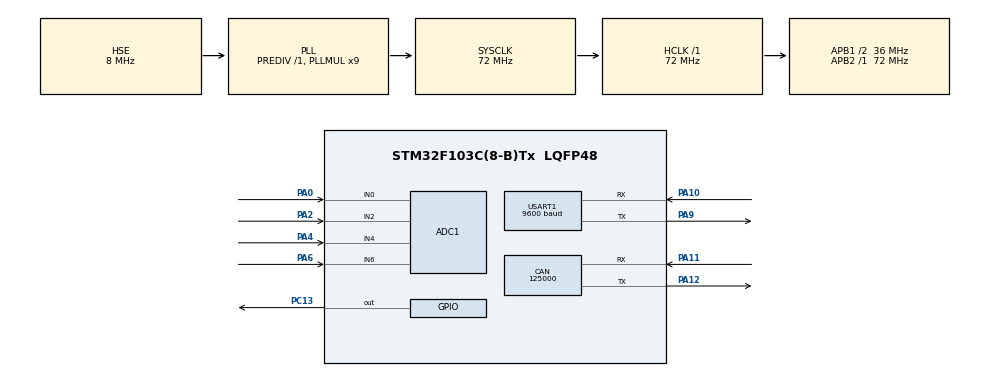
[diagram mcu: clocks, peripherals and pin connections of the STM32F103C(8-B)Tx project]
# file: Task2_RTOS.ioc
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ADC1.Channel-0\#ChannelRegularConversion=ADC_CHANNEL_0
ADC1.Channel-1\#ChannelRegularConversion=ADC_CHANNEL_2
ADC1.Channel-2\#ChannelRegularConversion=ADC_CHANNEL_4
ADC1.Channel-3\#ChannelRegularConversion=ADC_CHANNEL_6
ADC1.ContinuousConvMode=ENABLE
ADC1.NbrOfConversion=4
ADC1.NbrOfConversionFlag=1
ADC1.Rank-0\#ChannelRegularConversion=1
ADC1.Rank-1\#ChannelRegularConversion=2
ADC1.Rank-2\#ChannelRegularConversion=3
ADC1.Rank-3\#ChannelRegularConversion=4
ADC1.SamplingTime-0\#ChannelRegularConversion=ADC_SAMPLETIME_1CYCLE_5
ADC1.SamplingTime-1\#ChannelRegularConversion=ADC_SAMPLETIME_1CYCLE_5
ADC1.SamplingTime-2\#ChannelRegularConversion=ADC_SAMPLETIME_1CYCLE_5
ADC1.SamplingTime-3\#ChannelRegularConversion=ADC_SAMPLETIME_1CYCLE_5
ADC1.master=1
CAN.BS1=CAN_BS1_15TQ
CAN.BS2=CAN_BS2_2TQ
CAN.CalculateBaudRate=125000
CAN.CalculateTimeBit=8000
CAN.CalculateTimeQuantum=444.44444444444446
Dma.ADC1.0.Direction=DMA_PERIPH_TO_MEMORY
Dma.ADC1.0.Instance=DMA1_Channel1
Dma.ADC1.0.MemDataAlignment=DMA_MDATAALIGN_WORD
Dma.ADC1.0.MemInc=DMA_MINC_ENABLE
Dma.ADC1.0.Mode=DMA_NORMAL
Dma.ADC1.0.PeriphDataAlignment=DMA_PDATAALIGN_WORD
Dma.ADC1.0.PeriphInc=DMA_PINC_DISABLE
Dma.ADC1.0.Priority=DMA_PRIORITY_LOW
Dma.Request0=ADC1
Mcu.Family=STM32F1
Mcu.Name=STM32F103C(8-B)Tx
Mcu.Package=LQFP48
NVIC.DMA1_Channel1_IRQn=true\:0\:0\:false\:false\:true\:false\:true\:true
NVIC.PriorityGroup=NVIC_PRIORITYGROUP_4
NVIC.TIM1_UP_IRQn=true\:15\:0\:false\:false\:true\:false\:true\:true
NVIC.TimeBase=TIM1_UP_IRQn
NVIC.TimeBaseIP=TIM1
PA0-WKUP.Signal=ADCx_IN0
PA10.Mode=Asynchronous
PA10.Signal=USART1_RX
PA11.Mode=CAN_Activate
PA11.Signal=CAN_RX
PA12.Mode=CAN_Activate
PA12.Signal=CAN_TX
PA13.Mode=Serial_Wire
PA13.Signal=SYS_JTMS-SWDIO
PA14.Mode=Serial_Wire
PA14.Signal=SYS_JTCK-SWCLK
PA2.Signal=ADCx_IN2
PA4.Signal=ADCx_IN4
PA6.Signal=ADCx_IN6
PA9.Mode=Asynchronous
PA9.Signal=USART1_TX
PC13-TAMPER-RTC.Signal=GPIO_Output
PD0-OSC_IN.Mode=HSE-External-Oscillator
PD0-OSC_IN.Signal=RCC_OSC_IN
PD1-OSC_OUT.Mode=HSE-External-Oscillator
PD1-OSC_OUT.Signal=RCC_OSC_OUT
ProjectManager.HeapSize=0x200
ProjectManager.StackSize=0x400
ProjectManager.TargetToolchain=MDK-ARM V5.32
RCC.ADCPresc=RCC_ADCPCLK2_DIV6
RCC.AHBFreq_Value=72000000
RCC.APB1CLKDivider=RCC_HCLK_DIV2
RCC.APB1Freq_Value=36000000
RCC.APB1TimFreq_Value=72000000
RCC.APB2Freq_Value=72000000
RCC.APB2TimFreq_Value=72000000
RCC.HCLKFreq_Value=72000000
RCC.PLLMUL=RCC_PLL_MUL9
RCC.PLLSourceVirtual=RCC_PLLSOURCE_HSE
RCC.SYSCLKFreq_VALUE=72000000
RCC.SYSCLKSource=RCC_SYSCLKSOURCE_PLLCLK
RCC.USBFreq_Value=72000000
SH.ADCx_IN0.0=ADC1_IN0,IN0
SH.ADCx_IN2.0=ADC1_IN2,IN2
SH.ADCx_IN4.0=ADC1_IN4,IN4
SH.ADCx_IN6.0=ADC1_IN6,IN6
USART1.BaudRate=9600
USART1.VirtualMode=VM_ASYNC
VP_SYS_VS_tim1.Mode=TIM1
board=custom

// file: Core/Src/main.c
/* USER CODE BEGIN Header */
/**
  ******************************************************************************
  * @file           : main.c
  * @brief          : Main program body
  ******************************************************************************
  * @attention
  *
  * Copyright (c) 2023 STMicroelectronics.
  * All rights reserved.
  *
  * This software is licensed under terms that can be found in the LICENSE file
  * in the root directory of this software component.
  * If no LICENSE file comes with this software, it is provided AS-IS.
  *
  ******************************************************************************
  */
/* USER CODE END Header */
#include "main.h"

/* USER CODE BEGIN Includes */
#include "FreeRTOS.h"
#include "Task.h"
#include "string.h"
#include "stdio.h"
#include "semphr.h"
/* USER CODE END Includes */

ADC_HandleTypeDef hadc1;
DMA_HandleTypeDef hdma_adc1;

CAN_HandleTypeDef hcan;

UART_HandleTypeDef huart1;

/* USER CODE BEGIN PV */
// handlers
	//ADC_DMA TASK Handlers.
	BaseType_t xAdcDmaReturned;
	TaskHandle_t xAdcDmaHandle = NULL;

	//Uart Task handlers.
	BaseType_t xUartReturned;
	TaskHandle_t xUartHandle = NULL;

	//Can Task Handlers
		BaseType_t xCanReturned;
	TaskHandle_t xCanHandle = NULL;
	CAN_TxHeaderTypeDef TxHeader;
	uint8_t txCanData[25];
	uint32_t mailBox;

	//semaphore handler
	xSemaphoreHandle xUartSemaphore = 0;
	xSemaphoreHandle xCanSemaphore = 0;

//global variables.
uint32_t adcValues[4];
char txUartBuffer[25];
char txCanBuffer[6];
double convertedValues[4];
/* USER CODE END PV */

void SystemClock_Config(void);
static void MX_GPIO_Init(void);
static void MX_DMA_Init(void);
static void MX_ADC1_Init(void);
static void MX_CAN_Init(void);
static void MX_USART1_UART_Init(void);

/* USER CODE BEGIN 0 */

//Interrupts callback
void HAL_ADC_ConvCpltCallback(ADC_HandleTypeDef* hadc)
{
		xSemaphoreGive(xUartSemaphore);
		xSemaphoreGive(xCanSemaphore);
}

//Can init
	void Can_Tx ()
	{
		TxHeader.StdId = 0;
		TxHeader.ExtId = 0;
		TxHeader.IDE = CAN_ID_STD;
		TxHeader.RTR = CAN_RTR_DATA;
		TxHeader.DLC = 6;

		HAL_CAN_Start(&hcan);
	}
//Tasks Functions

void vUartTask( void * pvParameters )
{
    /* The parameter value is expected to be 1 as 1 is passed in the
    pvParameters value in the call to xTaskCreate() below. */
    configASSERT( ( ( uint32_t ) pvParameters ) == 1 );
		TickType_t xLastWakeTime;
		const TickType_t xFrequency = 50;
    // Initialise the xLastWakeTime variable with the current time.
    xLastWakeTime = xTaskGetTickCount();

		char suspensionState[15];
		int i = 0;
    for( ;; )
    {
				if(xSemaphoreTake(xUartSemaphore, portMAX_DELAY))
				{
					/* Task code goes here. */
						for(i = 0; i < 4; i++)
						{
							convertedValues[i] = (float) adcValues[i] - 2048.0;
							convertedValues[i] = (convertedValues[i] * 5) / 2048;
							if(convertedValues[i] > 0 )
								strcpy(suspensionState, "Compressed \r\n");
							else if (convertedValues[i] < 0)
								strcpy(suspensionState, "Expanded \r\n");
							else
								strcpy(suspensionState, "\r\n");
							snprintf(txUartBuffer, 25, "val %d = %.2f cm ", i+1 , (float) convertedValues[i]);
						  HAL_UART_Transmit(&huart1, (uint8_t*) txUartBuffer,strlen(txUartBuffer), HAL_MAX_DELAY);
							HAL_UART_Transmit(&huart1, (uint8_t*) suspensionState,strlen(suspensionState), HAL_MAX_DELAY);
						}
				}

    }
		vTaskDelayUntil(&xLastWakeTime, xFrequency);
}

void vCanTask( void * pvParameters )
{
    /* The parameter value is expected to be 1 as 1 is passed in the
    pvParameters value in the call to xTaskCreate() below. */
    configASSERT( ( ( uint32_t ) pvParameters ) == 1 );
		TickType_t xLastWakeTime;
		const TickType_t xFrequency = 50;
     // Initialise the xLastWakeTime variable with the current time.
     xLastWakeTime = xTaskGetTickCount();
		int i = 1;

    for( ;; )
    {
        /* Task code goes here. */
			if(xSemaphoreTake(xCanSemaphore, portMAX_DELAY))
			{

				snprintf(txCanBuffer, 6, "%.2f", (float) convertedValues[i]);
				HAL_CAN_AddTxMessage(&hcan, &TxHeader, (uint8_t *)txCanBuffer ,&mailBox);
			}
			vTaskDelayUntil(&xLastWakeTime, xFrequency);
    }
}

/* USER CODE END 0 */

int main(void)
{

  /* MCU Configuration--------------------------------------------------------*/

  /* Reset of all peripherals, Initializes the Flash interface and the Systick. */
  HAL_Init();

  /* Configure the system clock */
  SystemClock_Config();

  /* Initialize all configured peripherals */
  MX_GPIO_Init();
  MX_DMA_Init();
  MX_ADC1_Init();
  MX_CAN_Init();
  MX_USART1_UART_Init();
  /* USER CODE BEGIN 2 */
	//ADC Dma init
	HAL_ADC_Start_DMA(&hadc1, adcValues, 4);
	//HAl Calibration
	HAL_ADCEx_Calibration_Start(&hadc1);

	//can init
	Can_Tx();
	//semaphore creation.
	vSemaphoreCreateBinary(xUartSemaphore);
	vSemaphoreCreateBinary(xCanSemaphore);

	// adc task creation
		xUartReturned = xTaskCreate(
										vUartTask,
										"Uart TASK",
										128,
										(void*) 1,
										1,
										&xUartHandle);
		xCanReturned = xTaskCreate(
									vCanTask,
									"Can TASK",
									128,
									(void*) 1,
									1,
									&xCanHandle);

	//Start Scheduler
	vTaskStartScheduler();
  /* USER CODE END 2 */

  /* Infinite loop */
  while (1)
  {

  }
}

void SystemClock_Config(void)
{
  RCC_OscInitTypeDef RCC_OscInitStruct = {0};
  RCC_ClkInitTypeDef RCC_ClkInitStruct = {0};
  RCC_PeriphCLKInitTypeDef PeriphClkInit = {0};

  /** Initializes the RCC Oscillators according to the specified parameters
  * in the RCC_OscInitTypeDef structure.
  */
  RCC_OscInitStruct.OscillatorType = RCC_OSCILLATORTYPE_HSE;
  RCC_OscInitStruct.HSEState = RCC_HSE_ON;
  RCC_OscInitStruct.HSEPredivValue = RCC_HSE_PREDIV_DIV1;
  RCC_OscInitStruct.HSIState = RCC_HSI_ON;
  RCC_OscInitStruct.PLL.PLLState = RCC_PLL_ON;
  RCC_OscInitStruct.PLL.PLLSource = RCC_PLLSOURCE_HSE;
  RCC_OscInitStruct.PLL.PLLMUL = RCC_PLL_MUL9;
  if (HAL_RCC_OscConfig(&RCC_OscInitStruct) != HAL_OK)
  {
    Error_Handler();
  }

  /** Initializes the CPU, AHB and APB buses clocks
  */
  RCC_ClkInitStruct.ClockType = RCC_CLOCKTYPE_HCLK|RCC_CLOCKTYPE_SYSCLK
                              |RCC_CLOCKTYPE_PCLK1|RCC_CLOCKTYPE_PCLK2;
  RCC_ClkInitStruct.SYSCLKSource = RCC_SYSCLKSOURCE_PLLCLK;
  RCC_ClkInitStruct.AHBCLKDivider = RCC_SYSCLK_DIV1;
  RCC_ClkInitStruct.APB1CLKDivider = RCC_HCLK_DIV2;
  RCC_ClkInitStruct.APB2CLKDivider = RCC_HCLK_DIV1;

  if (HAL_RCC_ClockConfig(&RCC_ClkInitStruct, FLASH_LATENCY_2) != HAL_OK)
  {
    Error_Handler();
  }
  PeriphClkInit.PeriphClockSelection = RCC_PERIPHCLK_ADC;
  PeriphClkInit.AdcClockSelection = RCC_ADCPCLK2_DIV6;
  if (HAL_RCCEx_PeriphCLKConfig(&PeriphClkInit) != HAL_OK)
  {
    Error_Handler();
  }
}

static void MX_ADC1_Init(void)
{

  ADC_ChannelConfTypeDef sConfig = {0};

  /** Common config
  */
  hadc1.Instance = ADC1;
  hadc1.Init.ScanConvMode = ADC_SCAN_ENABLE;
  hadc1.Init.ContinuousConvMode = ENABLE;
  hadc1.Init.DiscontinuousConvMode = DISABLE;
  hadc1.Init.ExternalTrigConv = ADC_SOFTWARE_START;
  hadc1.Init.DataAlign = ADC_DATAALIGN_RIGHT;
  hadc1.Init.NbrOfConversion = 4;
  if (HAL_ADC_Init(&hadc1) != HAL_OK)
  {
    Error_Handler();
  }

  /** Configure Regular Channel
  */
  sConfig.Channel = ADC_CHANNEL_0;
  sConfig.Rank = ADC_REGULAR_RANK_1;
  sConfig.SamplingTime = ADC_SAMPLETIME_1CYCLE_5;
  if (HAL_ADC_ConfigChannel(&hadc1, &sConfig) != HAL_OK)
  {
    Error_Handler();
  }

  /** Configure Regular Channel
  */
  sConfig.Channel = ADC_CHANNEL_2;
  sConfig.Rank = ADC_REGULAR_RANK_2;
  if (HAL_ADC_ConfigChannel(&hadc1, &sConfig) != HAL_OK)
  {
    Error_Handler();
  }

  /** Configure Regular Channel
  */
  sConfig.Channel = ADC_CHANNEL_4;
  sConfig.Rank = ADC_REGULAR_RANK_3;
  if (HAL_ADC_ConfigChannel(&hadc1, &sConfig) != HAL_OK)
  {
    Error_Handler();
  }

  /** Configure Regular Channel
  */
  sConfig.Channel = ADC_CHANNEL_6;
  sConfig.Rank = ADC_REGULAR_RANK_4;
  if (HAL_ADC_ConfigChannel(&hadc1, &sConfig) != HAL_OK)
  {
    Error_Handler();
  }

}

static void MX_CAN_Init(void)
{

  hcan.Instance = CAN1;
  hcan.Init.Prescaler = 16;
  hcan.Init.Mode = CAN_MODE_NORMAL;
  hcan.Init.SyncJumpWidth = CAN_SJW_1TQ;
  hcan.Init.TimeSeg1 = CAN_BS1_15TQ;
  hcan.Init.TimeSeg2 = CAN_BS2_2TQ;
  hcan.Init.TimeTriggeredMode = DISABLE;
  hcan.Init.AutoBusOff = DISABLE;
  hcan.Init.AutoWakeUp = DISABLE;
  hcan.Init.AutoRetransmission = DISABLE;
  hcan.Init.ReceiveFifoLocked = DISABLE;
  hcan.Init.TransmitFifoPriority = DISABLE;
  if (HAL_CAN_Init(&hcan) != HAL_OK)
  {
    Error_Handler();
  }

}

static void MX_USART1_UART_Init(void)
{

  huart1.Instance = USART1;
  huart1.Init.BaudRate = 9600;
  huart1.Init.WordLength = UART_WORDLENGTH_8B;
  huart1.Init.StopBits = UART_STOPBITS_1;
  huart1.Init.Parity = UART_PARITY_NONE;
  huart1.Init.Mode = UART_MODE_TX_RX;
  huart1.Init.HwFlowCtl = UART_HWCONTROL_NONE;
  huart1.Init.OverSampling = UART_OVERSAMPLING_16;
  if (HAL_UART_Init(&huart1) != HAL_OK)
  {
    Error_Handler();
  }

}

static void MX_DMA_Init(void)
{

  /* DMA controller clock enable */
  __HAL_RCC_DMA1_CLK_ENABLE();

  /* DMA interrupt init */
  /* DMA1_Channel1_IRQn interrupt configuration */
  HAL_NVIC_SetPriority(DMA1_Channel1_IRQn, 0, 0);
  HAL_NVIC_EnableIRQ(DMA1_Channel1_IRQn);

}

static void MX_GPIO_Init(void)
{
  GPIO_InitTypeDef GPIO_InitStruct = {0};

  /* GPIO Ports Clock Enable */
  __HAL_RCC_GPIOC_CLK_ENABLE();
  __HAL_RCC_GPIOD_CLK_ENABLE();
  __HAL_RCC_GPIOA_CLK_ENABLE();

  /*Configure GPIO pin Output Level */
  HAL_GPIO_WritePin(GPIOC, GPIO_PIN_13, GPIO_PIN_RESET);

  /*Configure GPIO pin : PC13 */
  GPIO_InitStruct.Pin = GPIO_PIN_13;
  GPIO_InitStruct.Mode = GPIO_MODE_OUTPUT_PP;
  GPIO_InitStruct.Pull = GPIO_NOPULL;
  GPIO_InitStruct.Speed = GPIO_SPEED_FREQ_LOW;
  HAL_GPIO_Init(GPIOC, &GPIO_InitStruct);

}

void HAL_TIM_PeriodElapsedCallback(TIM_HandleTypeDef *htim)
{
  if (htim->Instance == TIM1) {
    HAL_IncTick();
  }
}

void Error_Handler(void)
{
  __disable_irq();
  while (1)
  {
  }
}
